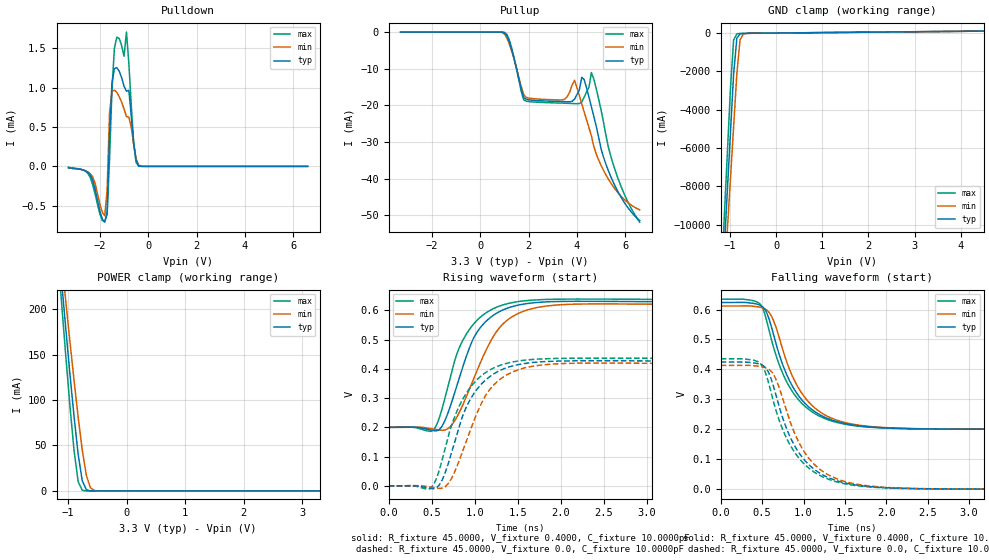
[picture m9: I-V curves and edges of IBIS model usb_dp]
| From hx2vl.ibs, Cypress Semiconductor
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|   Model usb_dp
[Model]  usb_dp
Model_type I/O
Polarity   Non-Inverting
Enable   Active-High
Vinl =   100.0000mV
Vinh =   0.3000V
C_comp   2.2024pF   2.1846pF   2.5478pF
[Model Spec]
Vmeas   0.20V   0.18V   0.22V
[Temperature Range]   25.0000   80.0000   -20.0000
[Voltage Range]   3.3000V   3.0000V   3.6000V
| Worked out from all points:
|   GND clamp passes 1 mA (typ) near -0.04 V on its own axis
|   POWER clamp passes 1 mA (typ) near -0.67 V on its own axis
|   rising waveform, R_fixture 45.0000, V_fixture 0.4000, C_fixture 10.0000pF: 20-80 % time 329ps typ, 389ps min, 330ps max; typ from 0.2 V to 0.624 V
|   rising waveform, R_fixture 45.0000, V_fixture 0.0, C_fixture 10.0000pF: 20-80 % time 351ps typ, 364ps min, 361ps max; typ from 0 V to 0.425 V
|   falling waveform, R_fixture 45.0000, V_fixture 0.4000, C_fixture 10.0000pF: 20-80 % time 408ps typ, 411ps min, 410ps max; typ from 0.623 V to 0.2 V
|   falling waveform, R_fixture 45.0000, V_fixture 0.0, C_fixture 10.0000pF: 20-80 % time 412ps typ, 415ps min, 413ps max; typ from 0.425 V to 0 V
[Pulldown]
|Voltage   I(typ)   I(min)   I(max)
-3.3V     -20uA      -20uA      -10uA
-2.4V     -110uA     -92uA      -141uA
-1.8V     -709uA     -629uA     -699uA
-1.7V     -581uA     -305uA     -610uA
-1.6V     388uA      681uA      89uA
-1.5V     1.056mA    951uA      972uA
-1.4V     1.241mA    968uA      1.498mA
-1V       1.018mA    729.8uA    1.398mA
-900mV    954.5uA    632.4uA    1.705mA
-600mV    298.5uA    275.5uA    288.8uA
-400mV    9.389uA    18.96uA    3.728uA
6.6V      0A         0A         0A
[Pullup]
|Voltage   I(typ)   I(min)   I(max)
-3.3V     0A         0A         0A
900mV     -25.93uA   -99.28uA   -5.372uA
1.2V      -2.625mA   -3.179mA   -2.08mA
1.7V      -15.69mA   -14.96mA   -16.31mA
1.9V      -18.36mA   -17.84mA   -18.87mA
3.5V      -19.01mA   -18.31mA   -19.43mA
3.9V      -18.32mA   -13.18mA   -19.54mA
4.2V      -12.36mA   -19.57mA   -19.08mA
4.6V      -20.43mA   -28.36mA   -11.05mA
5V        -31.91mA   -36.4mA    -21.31mA
5.5V      -40.94mA   -42.17mA   -36.05mA
6.6V      -51.52mA   -48.56mA   -51.93mA
[GND_clamp]
|Voltage   I(typ)   I(min)   I(max)
-3.3V     -109.3A    -99.7A     -119.5A
-1.13V    -11.57A    -13.24A    -10A
-1.06V    -8.421A    -10.45A    -6.482A
-990mV    -5.277A    -7.671A    -2.966A
-920mV    -2.14A     -4.892A    -362.3mA
-850mV    -267.4mA   -2.118A    -40.81mA
-780mV    -39.16mA   -350.5mA   -21.87mA
-710mV    -19.41mA   -55.3mA    -18.07mA
-640mV    -15.59mA   -19.56mA   -15.28mA
6.58V     146.2mA    146.2mA    146.2mA
[POWER_clamp]
|Voltage   I(typ)   I(min)   I(max)
-3.28V    1.919A     1.726A     2.127A
-1.18V    279.9mA    297.6mA    262.6mA
-1.11V    228.1mA    252.3mA    204.1mA
-1.04V    177.4mA    207.6mA    147.2mA
-970mV    128.2mA    163.9mA    92.92mA
-900mV    81.68mA    121.5mA    44.33mA
-830mV    40.42mA    81.27mA    10.29mA
-760mV    11.24mA    45.13mA    710.9uA
-690mV    1.253mA    17.18mA    31.63uA
-620mV    91.59uA    3.4mA      1.36uA
-550mV    6.365uA    409.2uA    56nA
3.3V      0A         0A         0A
[Ramp]
| variable   typ   min   max
dV/dt_r  0.2544/0.2041n   0.2480/0.2727n   0.2607/0.1598n
dV/dt_f  0.1175/98.9404p   86.4888m/0.1088n   0.1537/91.1264p
R_load = 45.0000
[Rising Waveform]
R_fixture= 45.0000
V_fixture= 0.4000
V_fixture_min= 0.4000
V_fixture_max= 0.4000
C_fixture= 10.0000pF
|time   V(typ)   V(min)   V(max)
0s        200mV      200mV      200mV
514ps     188.8mV    194.5mV    189.4mV
608ps     198.9mV    190.1mV    250.6mV
707ps     263.9mV    199.9mV    360.9mV
833ps     380.7mV    258.2mV    480.3mV
1.027ns   525.2mV    394.6mV    565.9mV
1.257ns   590.6mV    529mV      611mV
1.507ns   617.9mV    589.5mV    629.9mV
2.337ns   630.8mV    621.8mV    638.4mV
10ns      623.8mV    612.6mV    634.8mV
[Rising Waveform]
R_fixture= 45.0000
V_fixture= 0.0
V_fixture_min= 0.0
V_fixture_max= 0.0
C_fixture= 10.0000pF
|time   V(typ)   V(min)   V(max)
0s        0V         0V         0V
484ps     -9.386mV   -4.017mV   -8.367mV
564ps     -4.356mV   -7.992mV   32.08mV
658ps     45.93mV    -2.491mV   130.5mV
798ps     181.4mV    69.96mV    258.4mV
988ps     314.6mV    220.6mV    350.8mV
1.198ns   378.5mV    337.8mV    399.8mV
1.508ns   414.5mV    396.9mV    426.9mV
2.288ns   427.5mV    419.5mV    436.3mV
10ns      424.7mV    413.9mV    435.6mV
[Falling Waveform]
R_fixture= 45.0000
V_fixture= 0.4000
V_fixture_min= 0.4000
V_fixture_max= 0.4000
C_fixture= 10.0000pF
|time   V(typ)   V(min)   V(max)
0s        623.4mV    611.6mV    634.6mV
444ps     617.5mV    609.2mV    624.2mV
558ps     587.4mV    597.8mV    559.2mV
638ps     516.4mV    562.9mV    473.8mV
737ps     424.7mV    477.6mV    394.2mV
947ps     309.3mV    334.3mV    296.3mV
1.197ns   248.6mV    258.3mV    243.2mV
1.537ns   217mV      220.2mV    215.1mV
2.657ns   200.8mV    201mV      200.6mV
10ns      200mV      200mV      200mV
[Falling Waveform]
R_fixture= 45.0000
V_fixture= 0.0
V_fixture_min= 0.0
V_fixture_max= 0.0
C_fixture= 10.0000pF
|time   V(typ)   V(min)   V(max)
0s        424.6mV    413.3mV    435.6mV
464ps     418.1mV    410.4mV    423.2mV
534ps     407.9mV    406.2mV    393.5mV
598ps     376.9mV    396.8mV    334.2mV
758ps     230.1mV    294.3mV    193mV
968ps     112.5mV    143.6mV    96mV
1.208ns   51.56mV    64.12mV    44.37mV
1.563ns   17.11mV    21.04mV    14.75mV
2.728ns   681.8uV    898.2uV    556.2uV
10ns      0V         0V         0V
